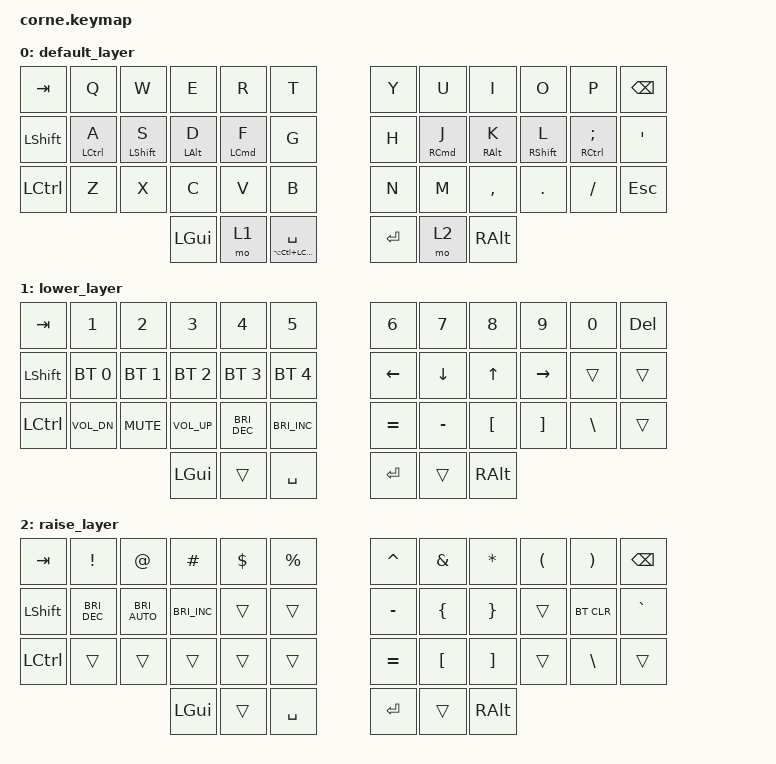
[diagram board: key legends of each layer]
/*
 * Copyright (c) 2020 The ZMK Contributors
 *
 * SPDX-License-Identifier: MIT
 */

#include <behaviors.dtsi>
#include <dt-bindings/zmk/bt.h>
#include <dt-bindings/zmk/keys.h>

&mt {
    flavor = "balanced";
    tapping-term-ms = <300>;
};

/ {
    keymap {
        compatible = "zmk,keymap";

        default_layer {
            // -----------------------------------------------------------------------------------------
            // |  TAB |  Q  |  W  |  E  |  R  |  T  |   |  Y  |  U   |  I  |  O  |  P  | BKSP |
            // | CTRL |  A  |  S  |  D  |  F  |  G  |   |  H  |  J   |  K  |  L  |  ;  |  '   |
            // | SHFT |  Z  |  X  |  C  |  V  |  B  |   |  N  |  M   |  ,  |  .  |  /  | ESC  |
            //                    | GUI | LWR | SPC |   | ENT | RSE  | ALT |

            bindings = <
&kp TAB           &kp Q               &kp W             &kp E           &kp R               &kp T                             &kp Y    &kp U                &kp I            &kp O              &kp P                        &kp BSPC
&kp LEFT_SHIFT    &mt LEFT_CONTROL A  &mt LEFT_SHIFT S  &mt LEFT_ALT D  &mt LEFT_COMMAND F  &kp G                             &kp H    &mt RIGHT_COMMAND J  &mt RIGHT_ALT K  &mt RIGHT_SHIFT L  &mt RIGHT_CONTROL SEMICOLON  &kp SQT
&kp LEFT_CONTROL  &kp Z               &kp X             &kp C           &kp V               &kp B                             &kp N    &kp M                &kp COMMA        &kp DOT            &kp FSLH                     &kp ESC
                                                        &kp LGUI        &mo 1               &mt LA(LC(LEFT_COMMAND)) SPACE    &kp RET  &mo 2                &kp RALT
            >;
        };

        lower_layer {
            // -----------------------------------------------------------------------------------------
            // |  TAB |  1  |  2  |  3  |  4  |  5  |   |  6  |  7  |  8  |  9  |  0  | BKSP |
            // | BTCLR| BT1 | BT2 | BT3 | BT4 | BT5 |   | LFT | DWN |  UP | RGT |     |      |
            // | SHFT |     |     |     |     |     |   |     |     |     |     |     |      |
            //                    | GUI |     | SPC |   | ENT |     | ALT |

            bindings = <
&kp TAB           &kp N1        &kp N2        &kp N3           &kp N4                &kp N5                  &kp N6     &kp N7     &kp N8            &kp N9             &kp N0         &kp DELETE
&kp LEFT_SHIFT    &bt BT_SEL 0  &bt BT_SEL 1  &bt BT_SEL 2     &bt BT_SEL 3          &bt BT_SEL 4            &kp LEFT   &kp DOWN   &kp UP            &kp RIGHT          &trans         &trans
&kp LEFT_CONTROL  &kp C_VOL_DN  &kp K_MUTE    &kp C_VOLUME_UP  &kp C_BRIGHTNESS_DEC  &kp C_BRIGHTNESS_INC    &kp EQUAL  &kp MINUS  &kp LEFT_BRACKET  &kp RIGHT_BRACKET  &kp BACKSLASH  &trans
                                              &kp LGUI         &trans                &kp SPACE               &kp RET    &trans     &kp RALT
            >;
        };

        raise_layer {
            // -----------------------------------------------------------------------------------------
            // |  TAB |  !  |  @  |  #  |  $  |  %  |   |  ^  |  &  |  *  |  (  |  )  | BKSP |
            // | CTRL |     |     |     |     |     |   |  -  |  =  |  [  |  ]  |  \  |  `   |
            // | SHFT |     |     |     |     |     |   |  _  |  +  |  {  |  }  | "|" |  ~   |
            //                    | GUI |     | SPC |   | ENT |     | ALT |

            bindings = <
&kp TAB           &kp EXCL              &kp AT                 &kp HASH              &kp DLLR  &kp PRCNT    &kp CARET  &kp AMPS          &kp ASTRK          &kp LPAR  &kp RPAR       &kp BSPC
&kp LEFT_SHIFT    &kp C_BRIGHTNESS_DEC  &kp C_BRIGHTNESS_AUTO  &kp C_BRIGHTNESS_INC  &trans    &trans       &kp MINUS  &kp LEFT_BRACE    &kp RIGHT_BRACE    &trans    &bt BT_CLR     &kp GRAVE
&kp LEFT_CONTROL  &trans                &trans                 &trans                &trans    &trans       &kp EQUAL  &kp LEFT_BRACKET  &kp RIGHT_BRACKET  &trans    &kp BACKSLASH  &trans
                                                               &kp LGUI              &trans    &kp SPACE    &kp RET    &trans            &kp RALT
            >;
        };
    };
};
